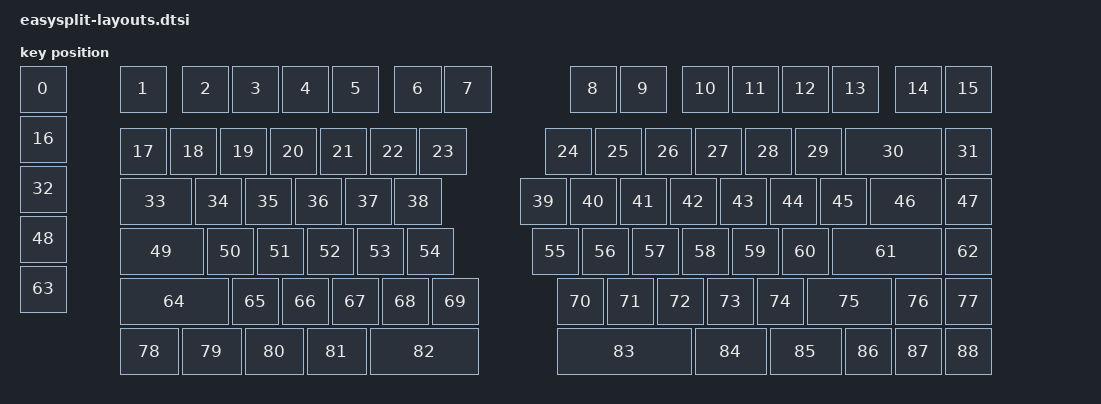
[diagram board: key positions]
// See https://zmk.dev/docs/development/hardware-integration/physical-layouts
// for how to configure this.

#include <physical_layouts.dtsi>
/*
/ {
    default_layout: default_layout {
        compatible = "zmk,physical-layout";
        display-name = "Default Layout";
        transform = <&default_transform>;
        kscan = <&kscan>;

        // Edit this to define the positions and sizes of the keys, or remove it
        // if your keyboard will not support ZMK Studio.
        // https://zmk.dev/docs/development/hardware-integration/physical-layouts#optional-keys-property
        keys  //                     w   h    x    y     rot    rx    ry
            = <&key_physical_attrs 100 100    0    0       0     0     0>
            , <&key_physical_attrs 100 100  100    0       0     0     0>
            , <&key_physical_attrs 100 100    0  100       0     0     0>
            , <&key_physical_attrs 100 100  100  100       0     0     0>
            ;
    };
};
*/

/ {
    default_layout: default_layout {
        compatible = "zmk,physical-layout";
        display-name = "EasySplit";
        transform = <&default_transform>;
        kscan = <&kscan>;

        keys  //                     w   h    x    y     rot    rx    ry
            = <&key_physical_attrs 100 100   50    0       0     0     0>
            , <&key_physical_attrs 100 100  250    0       0     0     0>
            , <&key_physical_attrs 100 100  375    0       0     0     0>
            , <&key_physical_attrs 100 100  475    0       0     0     0>
            , <&key_physical_attrs 100 100  575    0       0     0     0>
            , <&key_physical_attrs 100 100  675    0       0     0     0>
            , <&key_physical_attrs 100 100  800    0       0     0     0>
            , <&key_physical_attrs 100 100  900    0       0     0     0>
            , <&key_physical_attrs 100 100 1150    0       0     0     0>
            , <&key_physical_attrs 100 100 1250    0       0     0     0>
            , <&key_physical_attrs 100 100 1375    0       0     0     0>
            , <&key_physical_attrs 100 100 1475    0       0     0     0>
            , <&key_physical_attrs 100 100 1575    0       0     0     0>
            , <&key_physical_attrs 100 100 1675    0       0     0     0>
            , <&key_physical_attrs 100 100 1800    0       0     0     0>
            , <&key_physical_attrs 100 100 1900    0       0     0     0>
            , <&key_physical_attrs 100 100   50  100       0     0     0>
            , <&key_physical_attrs 100 100  250  125       0     0     0>
            , <&key_physical_attrs 100 100  350  125       0     0     0>
            , <&key_physical_attrs 100 100  450  125       0     0     0>
            , <&key_physical_attrs 100 100  550  125       0     0     0>
            , <&key_physical_attrs 100 100  650  125       0     0     0>
            , <&key_physical_attrs 100 100  750  125       0     0     0>
            , <&key_physical_attrs 100 100  850  125       0     0     0>
            , <&key_physical_attrs 100 100 1100  125       0     0     0>
            , <&key_physical_attrs 100 100 1200  125       0     0     0>
            , <&key_physical_attrs 100 100 1300  125       0     0     0>
            , <&key_physical_attrs 100 100 1400  125       0     0     0>
            , <&key_physical_attrs 100 100 1500  125       0     0     0>
            , <&key_physical_attrs 100 100 1600  125       0     0     0>
            , <&key_physical_attrs 200 100 1700  125       0     0     0>
            , <&key_physical_attrs 100 100 1900  125       0     0     0>
            , <&key_physical_attrs 100 100   50  200       0     0     0>
            , <&key_physical_attrs 150 100  250  225       0     0     0>
            , <&key_physical_attrs 100 100  400  225       0     0     0>
            , <&key_physical_attrs 100 100  500  225       0     0     0>
            , <&key_physical_attrs 100 100  600  225       0     0     0>
            , <&key_physical_attrs 100 100  700  225       0     0     0>
            , <&key_physical_attrs 100 100  800  225       0     0     0>
            , <&key_physical_attrs 100 100 1050  225       0     0     0>
            , <&key_physical_attrs 100 100 1150  225       0     0     0>
            , <&key_physical_attrs 100 100 1250  225       0     0     0>
            , <&key_physical_attrs 100 100 1350  225       0     0     0>
            , <&key_physical_attrs 100 100 1450  225       0     0     0>
            , <&key_physical_attrs 100 100 1550  225       0     0     0>
            , <&key_physical_attrs 100 100 1650  225       0     0     0>
            , <&key_physical_attrs 150 100 1750  225       0     0     0>
            , <&key_physical_attrs 100 100 1900  225       0     0     0>
            , <&key_physical_attrs 100 100   50  300       0     0     0>
            , <&key_physical_attrs 175 100  250  325       0     0     0>
            , <&key_physical_attrs 100 100  425  325       0     0     0>
            , <&key_physical_attrs 100 100  525  325       0     0     0>
            , <&key_physical_attrs 100 100  625  325       0     0     0>
            , <&key_physical_attrs 100 100  725  325       0     0     0>
            , <&key_physical_attrs 100 100  825  325       0     0     0>
            , <&key_physical_attrs 100 100 1075  325       0     0     0>
            , <&key_physical_attrs 100 100 1175  325       0     0     0>
            , <&key_physical_attrs 100 100 1275  325       0     0     0>
            , <&key_physical_attrs 100 100 1375  325       0     0     0>
            , <&key_physical_attrs 100 100 1475  325       0     0     0>
            , <&key_physical_attrs 100 100 1575  325       0     0     0>
            , <&key_physical_attrs 225 100 1675  325       0     0     0>
            , <&key_physical_attrs 100 100 1900  325       0     0     0>
            , <&key_physical_attrs 100 100   50  400       0     0     0>
            , <&key_physical_attrs 225 100  250  425       0     0     0>
            , <&key_physical_attrs 100 100  475  425       0     0     0>
            , <&key_physical_attrs 100 100  575  425       0     0     0>
            , <&key_physical_attrs 100 100  675  425       0     0     0>
            , <&key_physical_attrs 100 100  775  425       0     0     0>
            , <&key_physical_attrs 100 100  875  425       0     0     0>
            , <&key_physical_attrs 100 100 1125  425       0     0     0>
            , <&key_physical_attrs 100 100 1225  425       0     0     0>
            , <&key_physical_attrs 100 100 1325  425       0     0     0>
            , <&key_physical_attrs 100 100 1425  425       0     0     0>
            , <&key_physical_attrs 100 100 1525  425       0     0     0>
            , <&key_physical_attrs 175 100 1625  425       0     0     0>
            , <&key_physical_attrs 100 100 1800  425       0     0     0>
            , <&key_physical_attrs 100 100 1900  425       0     0     0>
            , <&key_physical_attrs 125 100  250  525       0     0     0>
            , <&key_physical_attrs 125 100  375  525       0     0     0>
            , <&key_physical_attrs 125 100  500  525       0     0     0>
            , <&key_physical_attrs 125 100  625  525       0     0     0>
            , <&key_physical_attrs 225 100  750  525       0     0     0>
            , <&key_physical_attrs 275 100 1125  525       0     0     0>
            , <&key_physical_attrs 150 100 1400  525       0     0     0>
            , <&key_physical_attrs 150 100 1550  525       0     0     0>
            , <&key_physical_attrs 100 100 1700  525       0     0     0>
            , <&key_physical_attrs 100 100 1800  525       0     0     0>
            , <&key_physical_attrs 100 100 1900  525       0     0     0>
            ;
    };

    position_map {
        compatible = "zmk,physical-layout-position-map";

        layout {
            physical-layout = <&default_layout>;
            positions = <>;
        };
    };
};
